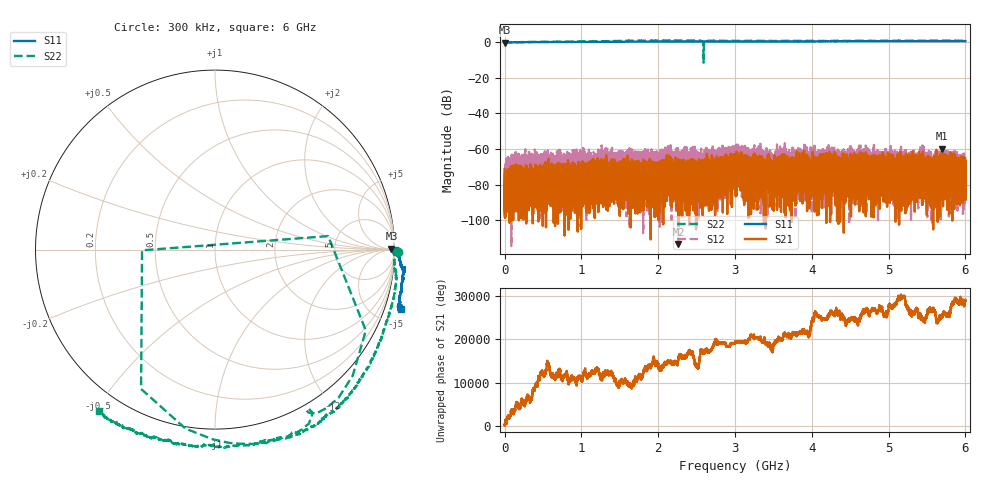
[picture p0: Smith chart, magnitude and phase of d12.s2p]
!Agilent Technologies,N5230C,SG49000117,A.08.50.07
!Agilent N5230C: A.08.50.07
!Date: Thursday, May 16, 2024 19:23:52
!Correction: S11(Full 2 Port(1,2))
!S21(Full 2 Port(1,2))
!S12(Full 2 Port(1,2))
!S22(Full 2 Port(1,2))
!S2P File: Measurements: S11, S21, S12, S22:
# Hz S  MA  R 50
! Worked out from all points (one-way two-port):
!   20001 points, 300 kHz to 6 GHz, reference 50 ohm
!   highest |S21| = -59.79 dB at 5.697 GHz (marker M1); lowest = -113.5 dB at 2.264 GHz (marker M2)
!   lowest |S11| = -0.2 dB at 600 kHz (marker M3), VSWR 114.79, Z = 5.19e+03 + j1.69e+03 ohm
!   |S11| at or under -10 dB: nowhere
!   |S22| runs from -11.5 to 1.1 dB; largest |S21 - S12| = 0.0018
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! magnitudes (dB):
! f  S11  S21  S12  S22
! 300 kHz  0.1  -71.2  -72.9  0.1
! 600 kHz  -0.2  -86.2  -77.3  -0.3
! 30.9 MHz  0.0  -85.0  -93.3  0.0
! 160.5 MHz  0.1  -77.8  -75.0  0.1
! 1 GHz  0.2  -71.8  -64.8  0.5
! 2 GHz  0.5  -75.2  -69.3  0.9
! 2.134 GHz  0.5  -70.2  -67.7  1.0
! 2.264 GHz  0.5  -113.5  -64.6  1.0
! 2.572 GHz  0.5  -76.5  -72.2  0.7
! 2.652 GHz  0.5  -79.9  -63.7  0.9
! 2.765 GHz  0.5  -64.0  -70.7  0.9
! 3 GHz  0.5  -73.8  -65.4  0.8
! 3.318 GHz  0.5  -65.7  -67.0  0.8
! 3.383 GHz  0.5  -84.6  -76.2  0.9
! 3.835 GHz  0.5  -76.3  -60.5  0.8
! 4 GHz  0.5  -72.8  -63.6  0.8
! 4.181 GHz  0.6  -63.8  -71.3  0.8
! 4.416 GHz  0.6  -107.1  -68.7  0.8
! 5 GHz  0.7  -77.0  -74.2  0.9
! 5.267 GHz  0.7  -74.9  -67.8  0.9
! 5.697 GHz  0.7  -59.8  -63.3  1.0
! 6 GHz  0.7  -73.4  -74.0  0.9
